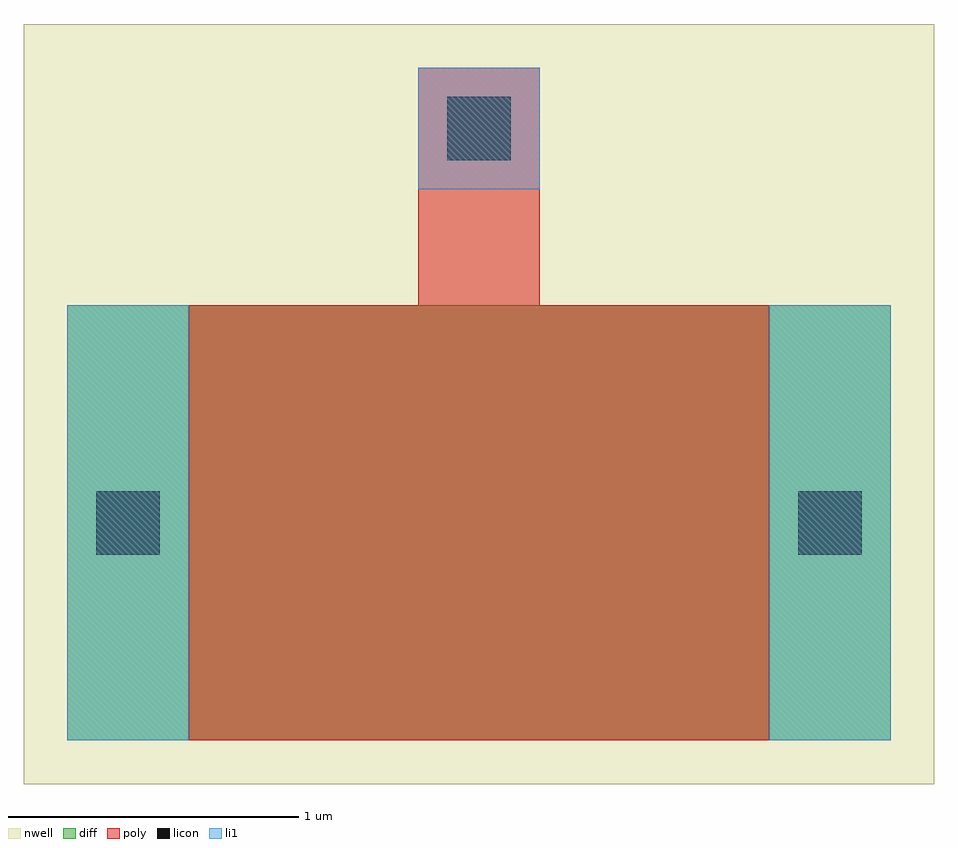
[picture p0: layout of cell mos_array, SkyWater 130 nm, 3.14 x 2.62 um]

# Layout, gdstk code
import gdstk
lib = gdstk.Library(unit=1e-6, precision=1e-09)
def R(c, l, rs):  # rectangles x0, y0, x1, y1
    for r in rs: c.add(gdstk.rectangle(r[:2], r[2:], *l))
nwell = (64, 20)
diff = (65, 20)
poly = (66, 20)
licon = (66, 44)
li1 = (67, 20)

mos_array = lib.new_cell('mos_array')
R(mos_array, nwell, [(-0.15,-0.15,2.99,2.47)])
R(mos_array, diff, [(0,0,2.84,1.5)])
R(mos_array, poly, [(0.42,0,2.42,1.5), (1.21,1.5,1.63,2.32)])
R(mos_array, licon, [(0.1,0.64,0.32,0.86), (2.52,0.64,2.74,0.86), (1.31,2,1.53,2.22)])
R(mos_array, li1, [(0,0,0.42,1.5), (2.42,0,2.84,1.5), (1.21,1.9,1.63,2.32)])

lib.write_gds('mos_array.gds')
